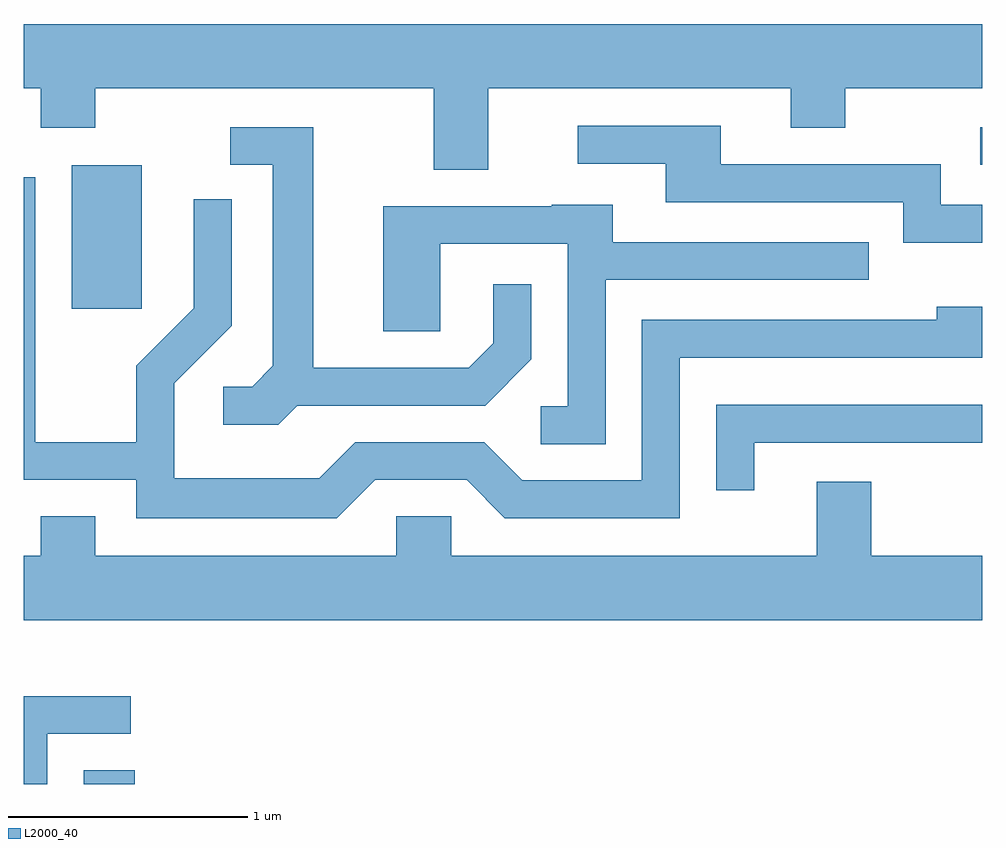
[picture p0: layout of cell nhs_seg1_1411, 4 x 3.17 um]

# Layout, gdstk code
import gdstk
lib = gdstk.Library(unit=1e-6, precision=1e-09)
def R(c, l, rs):  # rectangles x0, y0, x1, y1
    for r in rs: c.add(gdstk.rectangle(r[:2], r[2:], *l))
def P(c, l, *ps):  # polygons
    for p in ps: c.add(gdstk.Polygon(p, *l))
L2000_40 = (2000, 40)

nhs_seg1_1411 = lib.new_cell('nhs_seg1_1411')
R(nhs_seg1_1411, L2000_40, [(227.861,967.712,228.074,967.769), (227.811,969.696,228.104,970.294), (231.603,970.296,231.611,970.454)])
P(nhs_seg1_1411, L2000_40, [(229.549,970.616),(230.811,970.616),(230.811,970.451),(231.039,970.451),(231.039,970.616),(231.611,970.616),(231.611,970.884),(227.611,970.884),(227.611,970.616),(227.681,970.616),(227.681,970.451),(227.909,970.451),(227.909,970.616),(229.321,970.616),(229.321,970.276),(229.549,970.276)],
  [(231.611,970.129),(231.439,970.129),(231.439,970.299),(230.519,970.299),(230.519,970.459),(229.923,970.459),(229.923,970.301),(230.291,970.301),(230.291,970.141),(231.281,970.141),(231.281,969.971),(231.611,969.971)],
  [(228.752,969.291),(229.537,969.291),(229.729,969.484),(229.729,969.798),(229.571,969.798),(229.571,969.552),(229.469,969.449),(228.819,969.449),(228.819,970.454),(228.473,970.454),(228.473,970.296),(228.651,970.296),(228.651,969.457),(228.564,969.369),(228.443,969.369),(228.443,969.211),(228.672,969.211)],
  [(229.077,968.981),(229.459,968.981),(229.619,968.821),(230.349,968.821),(230.349,969.491),(231.611,969.491),(231.611,969.704),(231.421,969.704),(231.421,969.649),(230.191,969.649),(230.191,968.979),(229.692,968.979),(229.532,969.139),(228.994,969.139),(228.844,968.989),(228.239,968.989),(228.239,969.384),(228.479,969.624),(228.479,970.153),(228.321,970.153),(228.321,969.697),(228.081,969.457),(228.081,969.139),(227.659,969.139),(227.659,970.244),(227.611,970.244),(227.611,968.981),(228.081,968.981),(228.081,968.821),(228.917,968.821)],
  [(230.039,969.816),(231.138,969.816),(231.138,969.974),(230.069,969.974),(230.069,970.129),(229.815,970.129),(229.815,970.124),(229.111,970.124),(229.111,969.601),(229.349,969.601),(229.349,969.966),(229.881,969.966),(229.881,969.289),(229.768,969.289),(229.768,969.131),(230.039,969.131)],
  [(230.659,969.136),(231.611,969.136),(231.611,969.294),(230.501,969.294),(230.501,968.938),(230.659,968.938)],
  [(231.611,968.664),(231.149,968.664),(231.149,968.974),(230.921,968.974),(230.921,968.664),(229.394,968.664),(229.394,968.829),(229.166,968.829),(229.166,968.664),(227.909,968.664),(227.909,968.829),(227.681,968.829),(227.681,968.664),(227.611,968.664),(227.611,968.396),(231.611,968.396)],
  [(227.709,967.921),(228.058,967.921),(228.058,968.079),(227.611,968.079),(227.611,967.712),(227.709,967.712)])

lib.write_gds('nhs_seg1_1411.gds')
